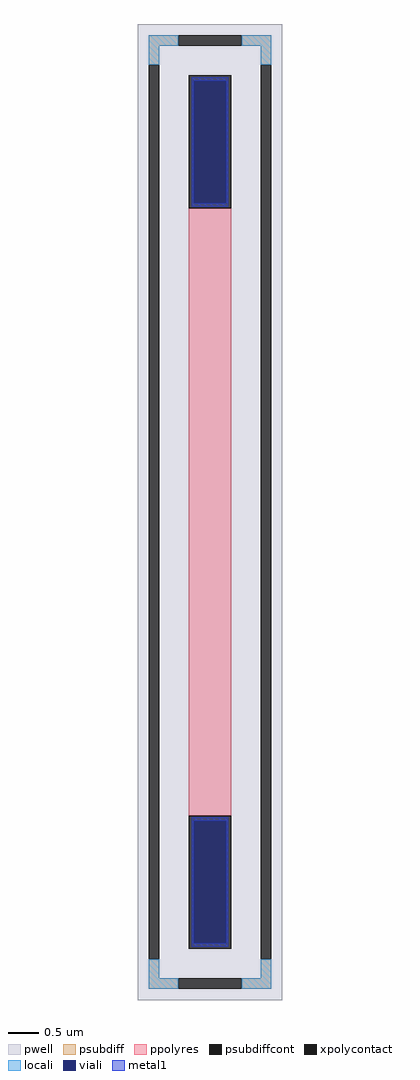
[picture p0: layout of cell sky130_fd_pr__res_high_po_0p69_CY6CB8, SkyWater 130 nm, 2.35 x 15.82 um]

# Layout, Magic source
magic
tech sky130A
magscale 1 2
<< pwell >>
rect -235 -1582 235 1582
<< psubdiff >>
rect -199 1512 -103 1546
rect 103 1512 199 1546
rect -199 1450 -165 1512
rect 165 1450 199 1512
rect -199 -1512 -165 -1450
rect 165 -1512 199 -1450
rect -199 -1546 -103 -1512
rect 103 -1546 199 -1512
<< psubdiffcont >>
rect -103 1512 103 1546
rect -199 -1450 -165 1450
rect 165 -1450 199 1450
rect -103 -1546 103 -1512
<< xpolycontact >>
rect -69 984 69 1416
rect -69 -1416 69 -984
<< ppolyres >>
rect -69 -984 69 984
<< locali >>
rect -199 1512 -103 1546
rect 103 1512 199 1546
rect -199 1450 -165 1512
rect 165 1450 199 1512
rect -199 -1512 -165 -1450
rect 165 -1512 199 -1450
rect -199 -1546 -103 -1512
rect 103 -1546 199 -1512
<< viali >>
rect -53 1001 53 1398
rect -53 -1398 53 -1001
<< metal1 >>
rect -59 1398 59 1410
rect -59 1001 -53 1398
rect 53 1001 59 1398
rect -59 989 59 1001
rect -59 -1001 59 -989
rect -59 -1398 -53 -1001
rect 53 -1398 59 -1001
rect -59 -1410 59 -1398
<< properties >>
string FIXED_BBOX -182 -1529 182 1529
string gencell sky130_fd_pr__res_high_po_0p69
string library sky130
string parameters w 0.690 l 10.0 m 1 nx 1 wmin 0.690 lmin 0.50 rho 319.8 val 5.199k dummy 0 dw 0.0 term 194.82 sterm 0.0 caplen 0 guard 1 glc 1 grc 1 gtc 1 gbc 1 compatible {sky130_fd_pr__res_high_po_0p35  sky130_fd_pr__res_high_po_0p69 sky130_fd_pr__res_high_po_1p41  sky130_fd_pr__res_high_po_2p85 sky130_fd_pr__res_high_po_5p73} snake 0 full_metal 1 wmax 0.690 n_guard 0 hv_guard 0 vias 1 viagb 0 viagt 0 viagl 0 viagr 0
<< end >>
